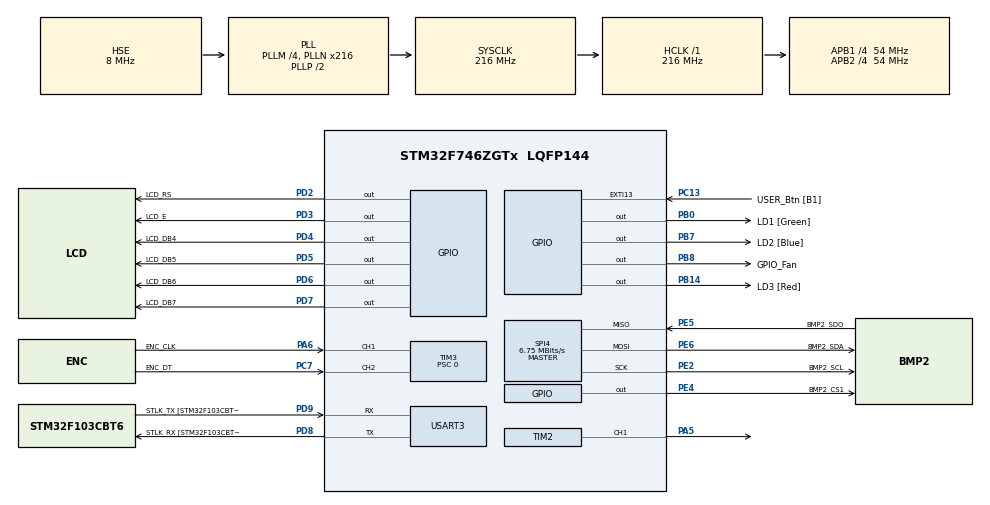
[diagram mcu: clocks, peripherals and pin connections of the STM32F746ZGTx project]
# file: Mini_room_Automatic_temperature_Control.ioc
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ARM.CMSIS.5.7.0.CMSISJjCORE=true
ARM.CMSIS.5.7.0.CMSISJjDSP=Library
Mcu.Family=STM32F7
Mcu.Name=STM32F746ZGTx
Mcu.Package=LQFP144
NVIC.EXTI15_10_IRQn=true\:0\:0\:false\:false\:true\:true\:true\:true
NVIC.PriorityGroup=NVIC_PRIORITYGROUP_4
NVIC.TIM2_IRQn=true\:0\:0\:false\:false\:true\:true\:true\:true
NVIC.TIM3_IRQn=true\:0\:0\:false\:false\:true\:true\:true\:true
NVIC.USART3_IRQn=true\:0\:0\:false\:false\:true\:true\:true\:true
PA1.GPIO_Label=RMII_REF_CLK [LAN8742A-CZ-TR_REFCLK0]
PA1.Signal=ETH_REF_CLK
PA10.GPIO_Label=USB_ID
PA10.Signal=USB_OTG_FS_ID
PA11.GPIO_Label=USB_DM
PA11.Signal=USB_OTG_FS_DM
PA12.GPIO_Label=USB_DP
PA12.Signal=USB_OTG_FS_DP
PA13.GPIO_Label=TMS
PA13.Mode=Serial_Wire
PA13.Signal=SYS_JTMS-SWDIO
PA14.GPIO_Label=TCK
PA14.Mode=Serial_Wire
PA14.Signal=SYS_JTCK-SWCLK
PA2.GPIO_Label=RMII_MDIO [LAN8742A-CZ-TR_MDIO]
PA2.Signal=ETH_MDIO
PA3.GPIO_Label=LD4 [PWM]
PA3.Signal=S_TIM5_CH4
PA5.Signal=S_TIM2_CH1_ETR
PA6.GPIO_Label=ENC_CLK
PA6.Signal=S_TIM3_CH1
PA7.GPIO_Label=RMII_CRS_DV [LAN8742A-CZ-TR_CRS_DV]
PA7.Signal=ETH_CRS_DV
PA8.GPIO_Label=USB_SOF [TP1]
PA8.Signal=USB_OTG_FS_SOF
PA9.GPIO_Label=USB_VBUS
PA9.Signal=USB_OTG_FS_VBUS
PB0.GPIO_Label=LD1 [Green]
PB0.Signal=GPIO_Output
PB10.GPIO_Label=LED_RGB_G [Green channel]
PB10.Signal=S_TIM2_CH3
PB11.GPIO_Label=LED_RGB_B [Blue channel]
PB11.Signal=S_TIM2_CH4
PB13.GPIO_Label=RMII_TXD1 [LAN8742A-CZ-TR_TXD1]
PB13.Signal=ETH_TXD1
PB14.GPIO_Label=LD3 [Red]
PB14.Signal=GPIO_Output
PB3.GPIO_Label=SW0
PB3.Signal=SYS_JTDO-SWO
PB7.GPIO_Label=LD2 [Blue]
PB7.Signal=GPIO_Output
PB8.GPIO_Label=GPIO_Fan
PB8.PinState=GPIO_PIN_SET
PB8.Signal=GPIO_Output
PB9.GPIO_Label=BH1750_SDA
PB9.Signal=I2C1_SDA
PC1.GPIO_Label=RMII_MDC [LAN8742A-CZ-TR_MDC]
PC1.Signal=ETH_MDC
PC13.GPIO_Label=USER_Btn [B1]
PC13.Signal=GPXTI13
PC14/OSC32_IN.Mode=LSE-External-Oscillator
PC14/OSC32_IN.Signal=RCC_OSC32_IN
PC15/OSC32_OUT.Mode=LSE-External-Oscillator
PC15/OSC32_OUT.Signal=RCC_OSC32_OUT
PC4.GPIO_Label=RMII_RXD0 [LAN8742A-CZ-TR_RXD0]
PC4.Signal=ETH_RXD0
PC5.GPIO_Label=RMII_RXD1 [LAN8742A-CZ-TR_RXD1]
PC5.Signal=ETH_RXD1
PC7.GPIO_Label=ENC_DT
PC7.Signal=S_TIM3_CH2
PD13.GPIO_Label=HEATER
PD13.Signal=S_TIM4_CH2
PD2.GPIO_Label=LCD_RS
PD2.Signal=GPIO_Output
PD3.GPIO_Label=LCD_E
PD3.Signal=GPIO_Output
PD4.GPIO_Label=LCD_DB4
PD4.Signal=GPIO_Output
PD5.GPIO_Label=LCD_DB5
PD5.Signal=GPIO_Output
PD6.GPIO_Label=LCD_DB6
PD6.Signal=GPIO_Output
PD7.GPIO_Label=LCD_DB7
PD7.Signal=GPIO_Output
PD8.GPIO_Label=STLK_RX [STM32F103CBT6_PA3]
PD8.Mode=Asynchronous
PD8.Signal=USART3_TX
PD9.GPIO_Label=STLK_TX [STM32F103CBT6_PA2]
PD9.Mode=Asynchronous
PD9.Signal=USART3_RX
PE2.GPIO_Label=BMP2_SCL
PE2.Mode=Full_Duplex_Master
PE2.Signal=SPI4_SCK
PE4.GPIO_Label=BMP2_CS1
PE4.Signal=GPIO_Output
PE5.GPIO_Label=BMP2_SDO
PE5.Mode=Full_Duplex_Master
PE5.Signal=SPI4_MISO
PE6.GPIO_Label=BMP2_SDA
PE6.Mode=Full_Duplex_Master
PE6.Signal=SPI4_MOSI
PG11.GPIO_Label=RMII_TX_EN [LAN8742A-CZ-TR_TXEN]
PG11.Signal=ETH_TX_EN
PG13.GPIO_Label=RMII_TXD0 [LAN8742A-CZ-TR_TXD0]
PG13.Signal=ETH_TXD0
PH0/OSC_IN.GPIO_Label=MCO [STM32F103CBT6_PA8]
PH0/OSC_IN.Mode=HSE-External-Clock-Source
PH0/OSC_IN.Signal=RCC_OSC_IN
PH1/OSC_OUT.Mode=HSE-External-Clock-Source
PH1/OSC_OUT.Signal=RCC_OSC_OUT
ProjectManager.HeapSize=0x200
ProjectManager.StackSize=0x400
ProjectManager.TargetToolchain=STM32CubeIDE
RCC.48MHZClocksFreq_Value=24000000
RCC.AHBFreq_Value=216000000
RCC.APB1CLKDivider=RCC_HCLK_DIV4
RCC.APB1Freq_Value=54000000
RCC.APB1TimFreq_Value=108000000
RCC.APB2CLKDivider=RCC_HCLK_DIV4
RCC.APB2Freq_Value=54000000
RCC.APB2TimFreq_Value=108000000
RCC.CortexFreq_Value=216000000
RCC.HCLKFreq_Value=216000000
RCC.HSE_VALUE=8000000
RCC.HSI_VALUE=16000000
RCC.PLLM=4
RCC.PLLMUL=RCC_PLL_MUL9
RCC.PLLN=216
RCC.PLLQ=3
RCC.PLLSourceVirtual=RCC_PLLSOURCE_HSE
RCC.PRESCALERUSB=RCC_USBCLKSOURCE_PLL_DIV1_5
RCC.SYSCLKFreq_VALUE=216000000
RCC.SYSCLKSource=RCC_SYSCLKSOURCE_PLLCLK
RCC.SYSCLKSourceVirtual=RCC_SYSCLKSOURCE_PLLCLK
RCC.USART3CLockSelection=RCC_USART3CLKSOURCE_SYSCLK
RCC.USBFreq_Value=144000000
RCC.VCOOutputFreq_Value=432000000
SH.S_TIM2_CH1_ETR.0=TIM2_CH1,PWM Generation1 CH1
SH.S_TIM2_CH3.0=TIM2_CH3
SH.S_TIM2_CH4.0=TIM2_CH4
SH.S_TIM3_CH1.0=TIM3_CH1,Encoder_Interface
SH.S_TIM3_CH2.0=TIM3_CH2,Encoder_Interface
SH.S_TIM4_CH2.0=TIM4_CH2
SH.S_TIM5_CH4.0=TIM5_CH4
SPI4.BaudRatePrescaler=SPI_BAUDRATEPRESCALER_8
SPI4.CLKPhase=SPI_PHASE_2EDGE
SPI4.CLKPolarity=SPI_POLARITY_HIGH
SPI4.CalculateBaudRate=6.75 MBits/s
SPI4.DataSize=SPI_DATASIZE_8BIT
SPI4.Direction=SPI_DIRECTION_2LINES
SPI4.Mode=SPI_MODE_MASTER
SPI4.VirtualType=VM_MASTER
TIM2.Channel-PWM\ Generation1\ CH1=TIM_CHANNEL_1
TIM2.Period=4999
TIM2.Prescaler=5399
TIM2.Pulse-PWM\ Generation1\ CH1=2500
TIM3.EncoderMode=TIM_ENCODERMODE_TI12
TIM3.IC1Filter=9
TIM3.IC2Filter=9
TIM3.Period=79
TIM3.Prescaler=0
USART3.VirtualMode-Asynchronous=VM_ASYNC
VP_ARM.CMSIS_VS_CMSISJjCORE_5.4.0_5.7.0.Mode=CMSISJjCORE
VP_ARM.CMSIS_VS_CMSISJjDSP_1.8.0_5.7.0.Mode=CMSISJjDSP
VP_TIM2_VS_ClockSourceINT.Mode=Internal
board=NUCLEO-F746ZG

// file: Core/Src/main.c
/* USER CODE BEGIN Header */
/**
  ******************************************************************************
  * @file           : main.c
  * @brief          : Main program body
  ******************************************************************************
  * @attention
  *
  * Copyright (c) 2023 STMicroelectronics.
  * All rights reserved.
  *
  * This software is licensed under terms that can be found in the LICENSE file
  * in the root directory of this software component.
  * If no LICENSE file comes with this software, it is provided AS-IS.
  *
  ******************************************************************************
  */
/* USER CODE END Header */
#include "main.h"
#include "spi.h"
#include "tim.h"
#include "usart.h"
#include "gpio.h"

/* USER CODE BEGIN Includes */
#include "../../Components/Inc/bmp2_config.h"
#include "../../Components/Inc/bmp2.h"
#include "../../Components/Inc/bmp2_defs.h"
#include "../../Components/Inc/LCD.h"
#include "../../Components/Inc/pid_controller_config.h"
#include <stdlib.h>
#include <stdio.h>
#include "arm_math.h"
/* USER CODE END Includes */

/* USER CODE BEGIN PV */

int temp_read_int;
int temp_fractional;
int temp_receivedValue_int;
int temp_receivedValue_fractional;
float temp_read, error, receivedValue, pid_out;
char json_msg[128];
float pwm_duty;
#define RX_BUFFER_SIZE 128
char rxBuffer[RX_BUFFER_SIZE];
char lastRxBuffer[RX_BUFFER_SIZE];
volatile uint16_t rxIndex = 0;
volatile uint8_t dataReceivedFlag = 0;
static uint32_t prev_encoder_val;

/* USER CODE END PV */

void SystemClock_Config(void);
/* USER CODE BEGIN PFP */

/**
 * @brief This function sets desired width modulation.
 * @param[in] htim, pointer to a timer instance, .
 * @param[in] pwm_power Desired width [%] in PWM Signal.
 */
void set_pwm_power (TIM_HandleTypeDef *htim, float pwm_power){
	if (pwm_power == 0){
	__HAL_TIM_SET_COMPARE(htim, TIM_CHANNEL_1, 0);
	}
	uint32_t Counter_period = htim->Init.Period;
	uint32_t pwm_val = (Counter_period*pwm_power)/100.0f;
    __HAL_TIM_SET_COMPARE(htim, TIM_CHANNEL_1, (uint32_t)pwm_val);
	}
/**
 * @brief This function adjusts destined temperature via encoder.
 * @param[in] Destined temperature.
 * @return [-].
 */

float encoder_destined_set(float Destined_temperature) {
    uint32_t encoder_val = htim3.Instance->CNT;
    int32_t diff = encoder_val - prev_encoder_val;

    // Handle wrap-around cases
    if ((encoder_val == 0 && prev_encoder_val == 80) || diff > 0) {
        Destined_temperature -= 0.5f;
    } else if ((encoder_val == 80 && prev_encoder_val == 0) || diff < 0) {
        Destined_temperature += 0.5f;
    }

    if (Destined_temperature <= 25.0f){
    	Destined_temperature = 25.0f;
    }
    else if (Destined_temperature >= 60.0f){
    	Destined_temperature = 60.0f;
    }

    // Update previous encoder value for the next call
    prev_encoder_val = encoder_val;

    temp_receivedValue_int = (int)Destined_temperature;
    temp_receivedValue_fractional = (int)((Destined_temperature - temp_receivedValue_int) * 1000);

    LCD_goto_line(1);
    LCD_printf("Set:%d.%03d[C]       ",  temp_receivedValue_int, temp_receivedValue_fractional);

    return Destined_temperature;
}

// Inside the HAL_TIM_PeriodElapsedCallback function
void HAL_TIM_PeriodElapsedCallback(TIM_HandleTypeDef *htim)
{
	if(htim == &htim2){
    // Read the temperature with a frequency of 4 Hz.
		temp_read = BMP2_ReadTemperature_degC(&bmp2dev_1);
		receivedValue = encoder_destined_set(receivedValue);
		temp_read_int = (int)temp_read;
		temp_fractional = (int)((temp_read - temp_read_int) * 1000);
		// Write data to LCD
		LCD_goto_line(0);
		LCD_printf("Actual:%d.%03d[C]", temp_read_int, temp_fractional);
		// Jakiś smiszny debugging dla odczytywania wartości zadaniej
		// opisać komentarze #TODO @Bartek
		if (dataReceivedFlag == 1){
			dataReceivedFlag = 0;  // Resetuj flagę

			// Konwersja stringa na float
			receivedValue = atof(rxBuffer);
			temp_receivedValue_int = (int)receivedValue;
			temp_receivedValue_fractional = (int)((receivedValue - temp_receivedValue_int) * 1000);

			// Wyświetl odebraną wiadomość
			LCD_goto_line(1);
			LCD_printf("Set:%d.%03d[C]       ",  temp_receivedValue_int, temp_receivedValue_fractional);

			// Resetuj rxBuffer
			memset(rxBuffer, 0, RX_BUFFER_SIZE);

		}
		pwm_duty = PID_GetOutput(&hpid1, receivedValue, temp_read);
	    set_pwm_power(&htim2, pwm_duty);
	    int msg_len = sprintf(json_msg, "{\"temperature\": %.2f, \"error\": %.2f, \"pwm_power\": %.2f, \"destined\": %.2f}\r\n",
        temp_read,receivedValue-temp_read,pwm_duty,receivedValue);
			HAL_UART_Transmit(&huart3, (uint8_t*)json_msg, msg_len, 1000);

		HAL_GPIO_WritePin(GPIO_Fan_GPIO_Port, GPIO_Fan_Pin, temp_read > (receivedValue + 4));

	}
}

void HAL_UART_RxCpltCallback(UART_HandleTypeDef *huart)
{
	if (huart->Instance == USART3)  // Sprawdź, czy przerwanie pochodzi z USART3
    {
        if (rxBuffer[rxIndex] == '\n')  // Sprawdź, czy odebrano znak końca linii
        {
            dataReceivedFlag = 1;  // Ustaw flagę o odebraniu pełnej wiadomości
            rxBuffer[rxIndex] = '\0';  // Zamień znak końca linii na znak końca łańcucha
            rxIndex = 0;  // Resetuj indeks bufora
        }
        else
        {
            if (++rxIndex >= RX_BUFFER_SIZE)  // Inkrementuj indeks i sprawdź przepełnienie
            {
                rxIndex = 0;  // Resetuj indeks bufora
            }
        }
        HAL_UART_Receive_IT(&huart3, (uint8_t*)&rxBuffer[rxIndex], 1);  // Ponownie włącz przerwanie
    }
}

/* USER CODE END PFP */

int main(void)
{

  /* MCU Configuration--------------------------------------------------------*/

  /* Reset of all peripherals, Initializes the Flash interface and the Systick. */
   HAL_Init();

  /* Configure the system clock */
  SystemClock_Config();

  /* Initialize all configured peripherals */
  MX_GPIO_Init();
  MX_USART3_UART_Init();
  MX_SPI4_Init();
  MX_TIM2_Init();
  MX_TIM3_Init();
  /* USER CODE BEGIN 2 */
  // Inicjalizacja komponentów zewnętrznych
  BMP2_Init(&bmp2dev_1);
  LCD_init();
  memset(lastRxBuffer, 0, RX_BUFFER_SIZE);  // Inicjalizacja lastRxBuffer
  HAL_UART_Receive_IT(&huart3, (uint8_t*)&rxBuffer[rxIndex], 1);  // Inicjalizacja przerwania odbioru UART
  //Zmiana priorytetu przerwań, #TODO debugging.
  HAL_NVIC_SetPriority(USART3_IRQn, 5, 0);
  HAL_NVIC_SetPriority(TIM2_IRQn, 6, 0); // Przykładowy niższy priorytet
  //PID regulator tune

  /* USER CODE END 2 */

  /* Infinite loop */
  /* USER CODE BEGIN WHILE */
//  ARM_PID_Init(2.5f,0.0f,53.639f);
  PID_Init(&hpid1);
  HAL_TIM_Base_Start_IT(&htim2);
  HAL_TIM_PWM_Start(&htim2, TIM_CHANNEL_1);
  HAL_TIM_Encoder_Start(&htim3,TIM_CHANNEL_ALL);
  while (1)
  {
    /* USER CODE END WHILE */

  }
}

void SystemClock_Config(void)
{
  RCC_OscInitTypeDef RCC_OscInitStruct = {0};
  RCC_ClkInitTypeDef RCC_ClkInitStruct = {0};

  /** Configure LSE Drive Capability
  */
  HAL_PWR_EnableBkUpAccess();

  /** Configure the main internal regulator output voltage
  */
  __HAL_RCC_PWR_CLK_ENABLE();
  __HAL_PWR_VOLTAGESCALING_CONFIG(PWR_REGULATOR_VOLTAGE_SCALE1);

  /** Initializes the RCC Oscillators according to the specified parameters
  * in the RCC_OscInitTypeDef structure.
  */
  RCC_OscInitStruct.OscillatorType = RCC_OSCILLATORTYPE_HSE;
  RCC_OscInitStruct.HSEState = RCC_HSE_BYPASS;
  RCC_OscInitStruct.PLL.PLLState = RCC_PLL_ON;
  RCC_OscInitStruct.PLL.PLLSource = RCC_PLLSOURCE_HSE;
  RCC_OscInitStruct.PLL.PLLM = 4;
  RCC_OscInitStruct.PLL.PLLN = 216;
  RCC_OscInitStruct.PLL.PLLP = RCC_PLLP_DIV2;
  RCC_OscInitStruct.PLL.PLLQ = 3;
  if (HAL_RCC_OscConfig(&RCC_OscInitStruct) != HAL_OK)
  {
    Error_Handler();
  }

  /** Activate the Over-Drive mode
  */
  if (HAL_PWREx_EnableOverDrive() != HAL_OK)
  {
    Error_Handler();
  }

  /** Initializes the CPU, AHB and APB buses clocks
  */
  RCC_ClkInitStruct.ClockType = RCC_CLOCKTYPE_HCLK|RCC_CLOCKTYPE_SYSCLK
                              |RCC_CLOCKTYPE_PCLK1|RCC_CLOCKTYPE_PCLK2;
  RCC_ClkInitStruct.SYSCLKSource = RCC_SYSCLKSOURCE_PLLCLK;
  RCC_ClkInitStruct.AHBCLKDivider = RCC_SYSCLK_DIV1;
  RCC_ClkInitStruct.APB1CLKDivider = RCC_HCLK_DIV4;
  RCC_ClkInitStruct.APB2CLKDivider = RCC_HCLK_DIV4;

  if (HAL_RCC_ClockConfig(&RCC_ClkInitStruct, FLASH_LATENCY_7) != HAL_OK)
  {
    Error_Handler();
  }
}

void Error_Handler(void)
{
  __disable_irq();
  while (1)
  {
  }
}
